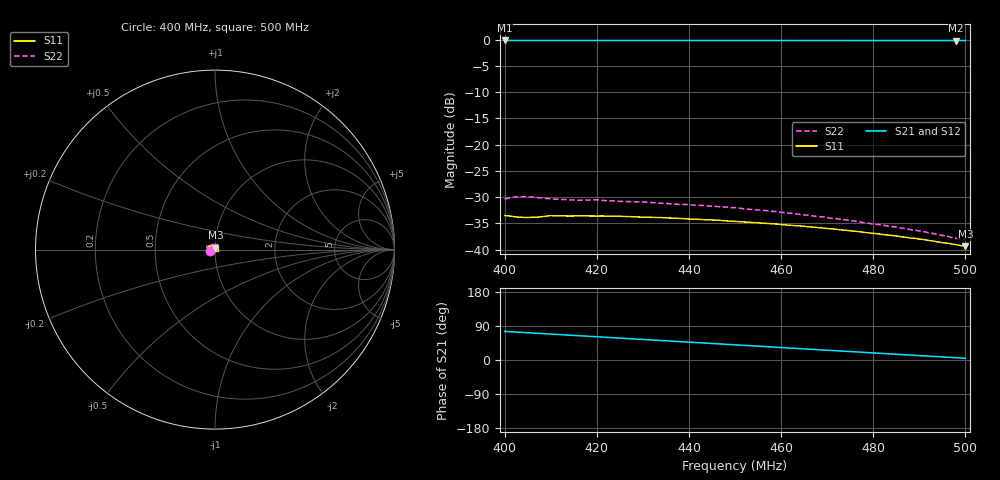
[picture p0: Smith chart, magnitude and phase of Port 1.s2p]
! RsaToolbox (C) 2014 Rohde & Schwarz America
! Number of points: 101
! Number of ports: 2
! Balanced ports?: No
# Hz S RI R 50
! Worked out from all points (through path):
!   101 points, 400 MHz to 500 MHz, reference 50 ohm
!   highest |S21| = -0.12 dB at 400 MHz (marker M1); lowest = -0.1 dB at 498 MHz (marker M2)
!   group delay of S21, straight-line fit = 1.97 ns
!   lowest |S11| = -39.3 dB at 500 MHz (marker M3), VSWR 1.02, Z = 50.2 + j1.06 ohm
!   |S11| at or under -10 dB: start of sweep to end of sweep
!   |S22| runs from -38.1 to -29.9 dB; largest |S21 - S12| = 0
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4e8  -0.0206 0.00462  0.2465 0.955  0.2465 0.955  -0.0297 -0.00666
4.02e8  -0.0199 0.00541  0.27 0.9486  0.27 0.9486  -0.0311 -0.00554
4.04e8  -0.0194 0.00588  0.2935 0.9415  0.2935 0.9415  -0.0316 -0.00438
4.07e8  -0.0193 0.00649  0.3282 0.93  0.3282 0.93  -0.0313 -0.00312
4.1e8  -0.0197 0.00753  0.3626 0.9171  0.3626 0.9171  -0.0304 -0.00309
4.16e8  -0.019 0.00882  0.4296 0.8875  0.4296 0.8875  -0.0295 -0.000415
4.17e8  -0.0188 0.00917  0.4406 0.8821  0.4406 0.8821  -0.0297 3.16e-05
4.2e8  -0.0182 0.0103  0.473 0.8651  0.473 0.8651  -0.0299 0.000625
4.22e8  -0.018 0.0106  0.4943 0.8531  0.4943 0.8531  -0.0293 0.00138
4.34e8  -0.0153 0.0132  0.6151 0.7703  0.6151 0.7703  -0.0271 0.00543
4.43e8  -0.0128 0.0145  0.6969 0.6971  0.6969 0.6971  -0.025 0.00833
4.49e8  -0.011 0.015  0.7467 0.6433  0.7467 0.6433  -0.0231 0.0099
4.5e8  -0.0108 0.0151  0.7546 0.634  0.7546 0.634  -0.023 0.0103
4.52e8  -0.0101 0.0153  0.7701 0.6151  0.7701 0.6151  -0.0221 0.0106
4.59e8  -0.00807 0.0156  0.8204 0.546  0.8204 0.546  -0.0197 0.0121
4.67e8  -0.00566 0.0154  0.8703 0.4621  0.8703 0.4621  -0.0163 0.0131
4.76e8  -0.00309 0.0146  0.9163 0.3623  0.9163 0.3623  -0.0126 0.0138
4.84e8  -0.00107 0.0136  0.9475 0.2698  0.9475 0.2698  -0.00941 0.0137
4.91e8  0.000629 0.0124  0.9672 0.1867  0.9672 0.1867  -0.00659 0.0133
4.98e8  0.00199 0.011  0.9797 0.1022  0.9797 0.1022  -0.00398 0.0122
4.99e8  0.00219 0.0107  0.9809 0.09  0.9809 0.09  -0.00366 0.0119
5e8  0.00235 0.0105  0.9819 0.0778  0.9819 0.0778  -0.00327 0.012
